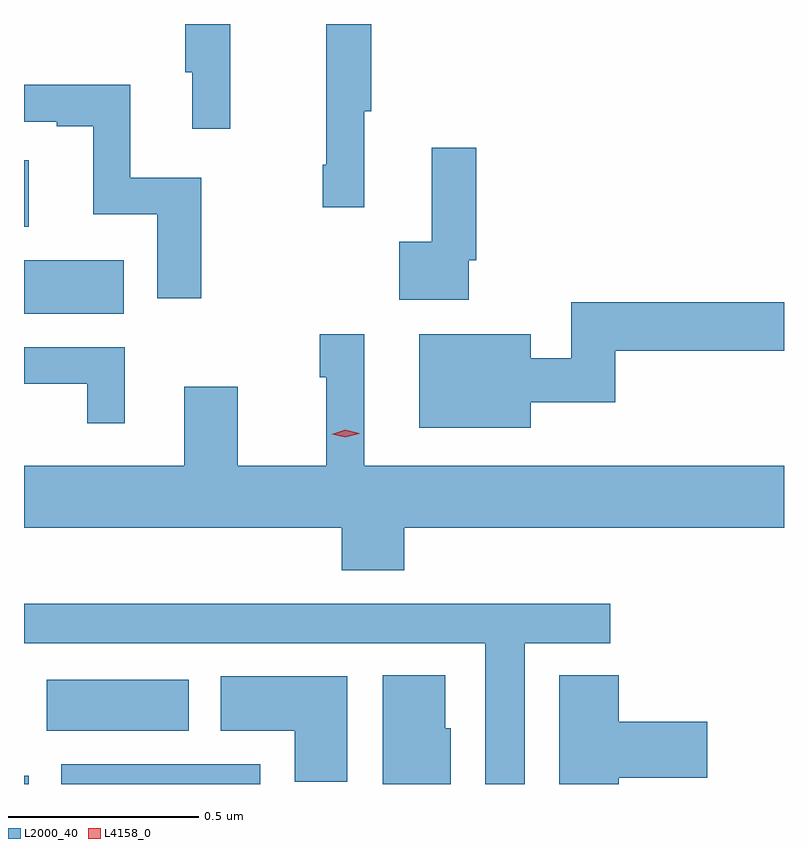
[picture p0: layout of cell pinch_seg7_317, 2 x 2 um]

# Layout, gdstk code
import gdstk
lib = gdstk.Library(unit=1e-6, precision=1e-09)
def R(c, l, rs):  # rectangles x0, y0, x1, y1
    for r in rs: c.add(gdstk.rectangle(r[:2], r[2:], *l))
def P(c, l, *ps):  # polygons
    for p in ps: c.add(gdstk.Polygon(p, *l))
L2000_40 = (2000, 40)
L4158_0 = (4158, 0)

pinch_seg7_317 = lib.new_cell('pinch_seg7_317')
R(pinch_seg7_317, L2000_40, [(552.657,1045.23,552.67,1045.252), (552.755,1045.23,553.279,1045.282), (552.717,1045.37,553.09,1045.504), (552.657,1046.468,552.919,1046.608), (552.657,1046.696,552.67,1046.872)])
P(pinch_seg7_317, L2000_40, [(553.553,1047),(553.571,1047),(553.571,1047.23),(553.453,1047.23),(553.453,1046.86),(553.443,1046.86),(553.443,1046.748),(553.553,1046.748)],
  [(553.2,1047.23),(553.081,1047.23),(553.081,1047.103),(553.1,1047.103),(553.1,1046.955),(553.2,1046.955)],
  [(553.124,1046.826),(552.937,1046.826),(552.937,1047.07),(552.657,1047.07),(552.657,1046.973),(552.743,1046.973),(552.743,1046.961),(552.839,1046.961),(552.839,1046.73),(553.008,1046.73),(553.008,1046.508),(553.124,1046.508)],
  [(553.827,1046.608),(553.847,1046.608),(553.847,1046.905),(553.73,1046.905),(553.73,1046.657),(553.644,1046.657),(553.644,1046.504),(553.827,1046.504)],
  [(553.99,1046.234),(554.213,1046.234),(554.213,1046.37),(554.657,1046.37),(554.657,1046.498),(554.097,1046.498),(554.097,1046.351),(553.99,1046.351),(553.99,1046.413),(553.697,1046.413),(553.697,1046.168),(553.99,1046.168)],
  [(553.658,1045.904),(554.657,1045.904),(554.657,1046.068),(553.552,1046.068),(553.552,1046.413),(553.435,1046.413),(553.435,1046.3),(553.453,1046.3),(553.453,1046.068),(553.219,1046.068),(553.219,1046.275),(553.079,1046.275),(553.079,1046.068),(552.657,1046.068),(552.657,1045.904),(553.493,1045.904),(553.493,1045.793),(553.658,1045.793)],
  [(552.922,1046.379),(552.657,1046.379),(552.657,1046.283),(552.824,1046.283),(552.824,1046.18),(552.922,1046.18)],
  [(553.975,1045.601),(554.2,1045.601),(554.2,1045.705),(552.657,1045.705),(552.657,1045.601),(553.871,1045.601),(553.871,1045.23),(553.975,1045.23)],
  [(554.222,1045.247),(554.455,1045.247),(554.455,1045.394),(554.222,1045.394),(554.222,1045.516),(554.066,1045.516),(554.066,1045.23),(554.222,1045.23)],
  [(553.78,1045.377),(553.765,1045.377),(553.765,1045.516),(553.601,1045.516),(553.601,1045.23),(553.78,1045.23)],
  [(553.507,1045.513),(553.175,1045.513),(553.175,1045.37),(553.37,1045.37),(553.37,1045.236),(553.507,1045.236)])
P(pinch_seg7_317, L4158_0, [(553.503,1046.142),(553.467,1046.151),(553.466,1046.151),(553.467,1046.151),(553.502,1046.162),(553.539,1046.153),(553.539,1046.152),(553.539,1046.152)])

lib.write_gds('pinch_seg7_317.gds')
